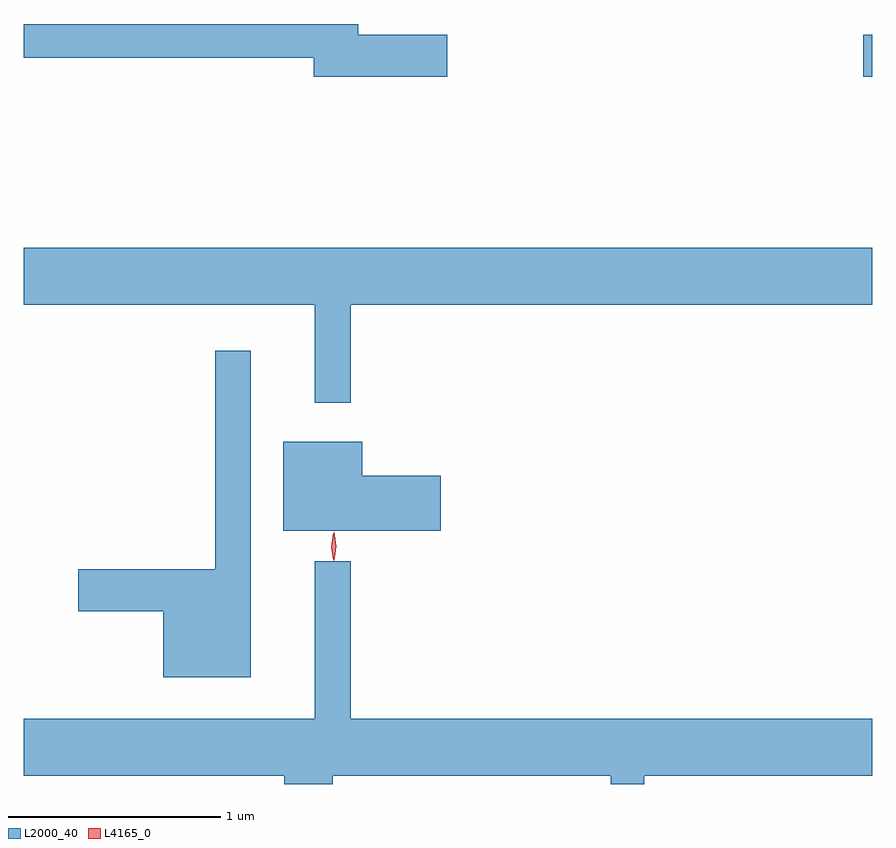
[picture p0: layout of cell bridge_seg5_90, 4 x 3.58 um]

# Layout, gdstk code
import gdstk
lib = gdstk.Library(unit=1e-6, precision=1e-09)
def R(c, l, rs):  # rectangles x0, y0, x1, y1
    for r in rs: c.add(gdstk.rectangle(r[:2], r[2:], *l))
def P(c, l, *ps):  # polygons
    for p in ps: c.add(gdstk.Polygon(p, *l))
L2000_40 = (2000, 40)
L4165_0 = (4165, 0)

bridge_seg5_90 = lib.new_cell('bridge_seg5_90')
R(bridge_seg5_90, L2000_40, [(1146.556,1468.971,1146.598,1469.169)])
P(bridge_seg5_90, L2000_40, [(1144.594,1469.169),(1144.174,1469.169),(1144.174,1469.219),(1142.598,1469.219),(1142.598,1469.061),(1143.966,1469.061),(1143.966,1468.971),(1144.594,1468.971)],
  [(1144.139,1467.896),(1146.598,1467.896),(1146.598,1468.164),(1142.598,1468.164),(1142.598,1467.896),(1143.971,1467.896),(1143.971,1467.433),(1144.139,1467.433)],
  [(1143.669,1467.678),(1143.501,1467.678),(1143.501,1466.649),(1142.856,1466.649),(1142.856,1466.451),(1143.256,1466.451),(1143.256,1466.141),(1143.669,1466.141)],
  [(1144.564,1467.089),(1144.194,1467.089),(1144.194,1467.249),(1143.821,1467.249),(1143.821,1466.831),(1144.564,1466.831)],
  [(1144.054,1465.676),(1145.366,1465.676),(1145.366,1465.637),(1145.524,1465.637),(1145.524,1465.676),(1146.598,1465.676),(1146.598,1465.944),(1144.139,1465.944),(1144.139,1466.688),(1143.971,1466.688),(1143.971,1465.944),(1142.598,1465.944),(1142.598,1465.676),(1143.826,1465.676),(1143.826,1465.637),(1144.054,1465.637)])
P(bridge_seg5_90, L4165_0, [(1144.061,1466.69),(1144.061,1466.69),(1144.051,1466.758),(1144.061,1466.825),(1144.061,1466.826),(1144.062,1466.825),(1144.071,1466.758),(1144.062,1466.69)],
  [(1144.058,1466.693),(1144.058,1466.694),(1144.048,1466.756),(1144.058,1466.82),(1144.058,1466.82),(1144.059,1466.82),(1144.068,1466.756),(1144.059,1466.694)])

lib.write_gds('bridge_seg5_90.gds')
